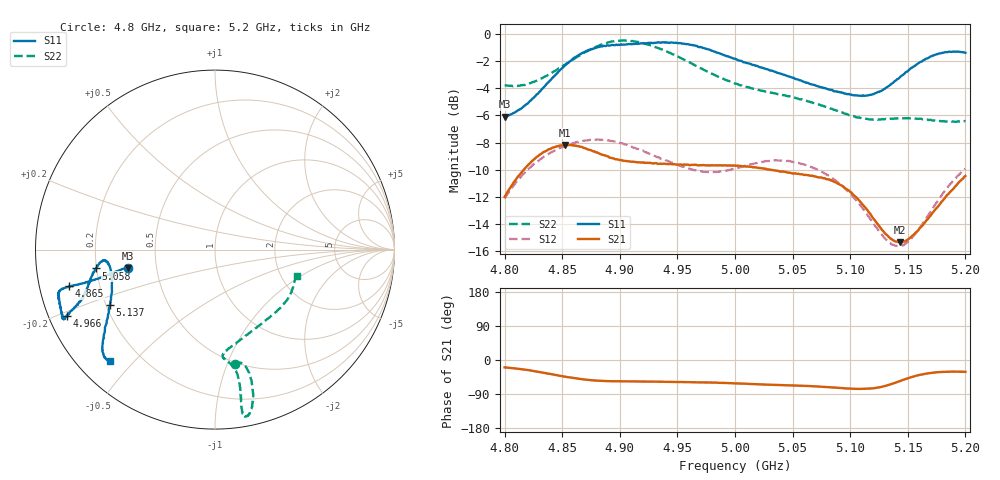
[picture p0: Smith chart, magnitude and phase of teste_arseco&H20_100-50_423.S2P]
! Network Analyzer HP8722D
! Hewlett-Packard
! Data name: Linha & Wilkinson
! Saver's name: Rodrigo Anjos
! Comments: Teste da utilização de aquisição
! continua pelo VNA HP8722D
! Time and date: 6/5/2025 16:05
!  Frequency  S11  S21  S12  S22
# HZ  S  MA R 50
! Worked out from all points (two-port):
!   401 points, 4.8 GHz to 5.2 GHz, reference 50 ohm
!   highest |S21| = -8.17 dB at 4.852 GHz (marker M1); lowest = -15.3 dB at 5.143 GHz (marker M2)
!   |S21| within 3 dB of the highest: 4.806 GHz to 5.093 GHz (286.9 MHz wide, 5.8 % of centre); 5.191837 GHz to end of sweep
!   lowest |S11| = -6.1 dB at 4.8 GHz (marker M3), VSWR 2.97, Z = 17 - j4.62 ohm
!   |S11| at or under -10 dB: nowhere
!   |S22| runs from -6.5 to -0.5 dB; largest |S21 - S12| = 0.62
!   S11 on the Smith chart (normalised r, x): 4.8 GHz: 0.34, -0.09; 4.865 GHz: 0.09, -0.12; 4.966 GHz: 0.05, -0.21; 5.058 GHz: 0.20, -0.08; 5.137 GHz: 0.22, -0.24; 5.2 GHz: 0.09, -0.43
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4.8e9  0.4957 -168.1  0.2514 -19.4  0.2484 -140.7  0.6482 -80.3
4.826e9  0.5871 -167.1  0.347 -29.5  0.3335 -144.4  0.6675 -75.6
4.852e9  0.7624 -165.7  0.3905 -43.7  0.3866 -149.2  0.7682 -74.5
4.865e9  0.8389 -165.9  0.3852 -49.9  0.4015 -151.6  0.8322 -75.2
4.867e9  0.8492 -165.7  0.3842 -50.7  0.403 -151.9  0.8425 -75.3
4.883e9  0.8981 -165.1  0.3618 -54.9  0.4085 -154.6  0.911 -77.1
4.9e9  0.9101 -162.5  0.3435 -56.2  0.397 -156.4  0.9431 -79.1
4.934e9  0.9311 -156.2  0.3328 -57.3  0.3519 -155.5  0.8842 -80.5
4.966e9  0.9039 -156.0  0.33 -58.7  0.3151 -148.2  0.7634 -79.6
5e9  0.8109 -159.0  0.3279 -61.7  0.3199 -137.1  0.6564 -81.2
5.035e9  0.7252 -165.0  0.3145 -65.8  0.343 -134.2  0.6039 -85.6
5.058e9  0.6712 -171.0  0.3047 -68.0  0.3323 -135.9  0.5745 -84.5
5.067e9  0.6514 -172.9  0.3014 -69.1  0.3234 -136.6  0.5594 -82.6
5.083e9  0.6217 -174.4  0.289 -72.2  0.2976 -138.2  0.5315 -76.8
5.1e9  0.5979 -172.2  0.2623 -75.5  0.2587 -138.7  0.5024 -67.2
5.116e9  0.5945 -165.4  0.2211 -75.8  0.2128 -135.4  0.4849 -55.7
5.134e9  0.6452 -154.1  0.1783 -65.2  0.1709 -120.7  0.4859 -43.3
5.137e9  0.6598 -152.3  0.1744 -62.4  0.1677 -116.9  0.4875 -41.5
5.143e9  0.6917 -149.1  0.1713 -55.9  0.1658 -108.9  0.4885 -38.1
5.154e9  0.7531 -144.5  0.1811 -44.5  0.1789 -95.0  0.4877 -32.3
5.172e9  0.8328 -138.9  0.2211 -33.5  0.2299 -81.1  0.4806 -24.5
5.2e9  0.852 -133.4  0.3003 -31.3  0.3192 -76.8  0.4774 -17.6
